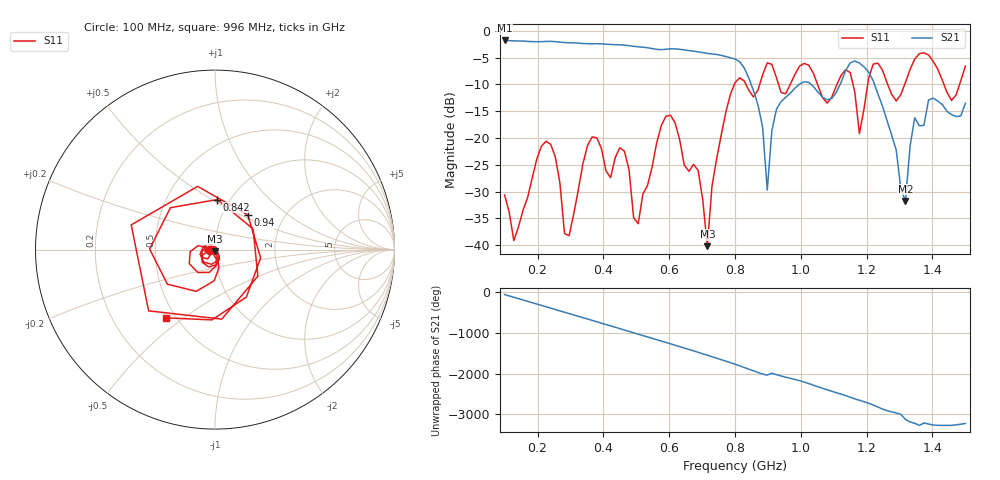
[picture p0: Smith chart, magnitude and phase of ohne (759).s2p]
! NanoVNA-App
! Date: 2025-09-25 14:26:42
! Start: 100MHz Stop: 1,5GHz Points: 101
! S-Parameter data: F S11 S21 S12 S22
# Hz S RI R 50
!  Frequency  S11_Real  S11_Imag  S21_Real  S21_Imag  S12_Real  S12_Imag  S22_Real  S22_Imag
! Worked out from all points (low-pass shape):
!   101 points, 100 MHz to 1.5 GHz, reference 50 ohm
!   highest |S21| = -1.79 dB at 100 MHz (marker M1); lowest = -31.7 dB at 1.318 GHz (marker M2)
!   |S21| within 3 dB of the highest: start of sweep to 772.3 MHz
!   lowest |S11| = -40.2 dB at 716 MHz (marker M3), VSWR 1.02, Z = 49.8 - j0.945 ohm
!   |S11| at or under -10 dB: start of sweep to 798 MHz; 833.3 MHz to 875.1 MHz (41.8 MHz wide, 4.89 % of centre); 1.051 GHz to 1.11 GHz (58.98 MHz wide, 5.46 % of centre) (the widest 3 of 7)
!   S12 and S22 are empty: the file has one direction only
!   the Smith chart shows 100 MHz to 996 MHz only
!   S11 on the Smith chart (normalised r, x): 100 MHz: 0.94, -0.01; 842 MHz: 0.88, +0.53; 940 MHz: 1.32, +0.55; 996 MHz: 0.44, -0.43
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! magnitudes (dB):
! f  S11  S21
! 100 MHz  -30.6  -1.8
! 128 MHz  -39.1  -1.9
! 226 MHz  -20.6  -2.0
! 296 MHz  -38.2  -2.2
! 338 MHz  -24.8  -2.4
! 464 MHz  -22.5  -2.7
! 506 MHz  -36.0  -3.0
! 576 MHz  -17.7  -3.5
! 688 MHz  -26.0  -3.9
! 716 MHz  -40.2  -4.2
! 800 MHz  -9.7  -5.3
! 842 MHz  -11.1  -8.8
! 898 MHz  -6.0  -29.7
! 940 MHz  -11.5  -13.2
! 996 MHz  -6.6  -9.9
! 1.038 GHz  -7.9  -10.4
! 1.178 GHz  -19.2  -6.0
! 1.22 GHz  -6.2  -9.3
! 1.276 GHz  -11.8  -19.5
! 1.318 GHz  -9.6  -31.7
! 1.346 GHz  -5.3  -16.2
! 1.5 GHz  -6.6  -13.5
